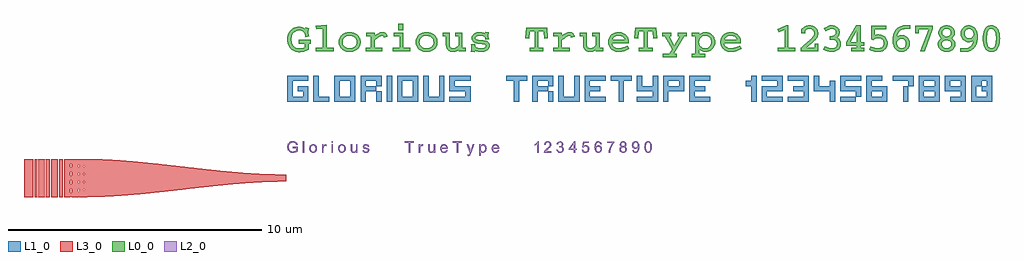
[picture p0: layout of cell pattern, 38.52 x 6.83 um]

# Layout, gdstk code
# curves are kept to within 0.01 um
import gdstk
lib = gdstk.Library(unit=1e-6, precision=1e-09)
def R(c, l, rs):  # rectangles x0, y0, x1, y1
    for r in rs: c.add(gdstk.rectangle(r[:2], r[2:], *l))
def A(c, l, x, y, w, h, nx, ny, dx, dy):  # array of equal rectangles
    R(c, l, [(x+i*dx, y+j*dy, x+i*dx+w, y+j*dy+h) for i in range(nx) for j in range(ny)])
def P(c, l, *ps):  # polygons
    for p in ps: c.add(gdstk.Polygon(p, *l))
L0_0 = (0, 0)
L1_0 = (1, 0)
L2_0 = (2, 0)
L3_0 = (3, 0)

pattern = lib.new_cell('pattern')
R(pattern, L0_0, [(4.385,5.83,4.582,6.079)])
P(pattern, L0_0, [(0.463,5.966),(0.588,5.948),(0.706,5.893),(0.714,5.95),(0.858,5.92),(0.833,5.753),(0.863,5.59),(0.713,5.558),(0.681,5.711),(0.636,5.765),(0.541,5.816),(0.427,5.824),(0.306,5.781),(0.218,5.694),(0.181,5.615),(0.162,5.525),(0.177,5.339),(0.233,5.224),(0.331,5.143),(0.419,5.118),(0.55,5.122),(0.693,5.158),(0.693,5.308),(0.454,5.308),(0.454,5.448),(0.92,5.448),(0.92,5.308),(0.843,5.308),(0.843,5.059),(0.642,4.992),(0.471,4.969),(0.295,5),(0.219,5.038),(0.124,5.118),(0.055,5.222),(0.024,5.301),(0,5.474),(0.014,5.607),(0.04,5.688),(0.129,5.826),(0.19,5.88),(0.297,5.938)],
  [(1.55,6.043),(1.55,5.139),(1.83,5.139),(1.83,5),(1.12,5),(1.12,5.139),(1.399,5.139),(1.399,5.895),(1.141,5.876),(1.125,6.014)],
  [(2.461,5.756),(2.461,5.616),(2.375,5.605),(2.299,5.573),(2.236,5.519),(2.197,5.45),(2.185,5.364),(2.198,5.279),(2.266,5.181),(2.376,5.125),(2.55,5.125),(2.66,5.182),(2.728,5.28),(2.737,5.413),(2.705,5.498),(2.604,5.586),(2.461,5.616),(2.461,5.756),(2.63,5.729),(2.769,5.65),(2.863,5.525),(2.894,5.407),(2.877,5.242),(2.798,5.108),(2.669,5.017),(2.507,4.976),(2.329,4.992),(2.174,5.066),(2.067,5.195),(2.032,5.319),(2.051,5.497),(2.144,5.638),(2.289,5.726)],
  [(3.945,5.613),(3.952,5.565),(3.803,5.541),(3.774,5.611),(3.719,5.612),(3.603,5.557),(3.447,5.428),(3.447,5.139),(3.753,5.139),(3.753,5),(3.096,5),(3.096,5.139),(3.296,5.139),(3.296,5.591),(3.11,5.591),(3.11,5.731),(3.447,5.731),(3.447,5.614),(3.636,5.736),(3.792,5.754),(3.895,5.704)],
  [(4.197,5.731),(4.582,5.731),(4.582,5.139),(4.862,5.139),(4.862,5),(4.152,5),(4.152,5.139),(4.431,5.139),(4.431,5.591),(4.197,5.591)],
  [(5.493,5.756),(5.493,5.616),(5.407,5.605),(5.331,5.573),(5.268,5.519),(5.23,5.45),(5.217,5.364),(5.23,5.279),(5.298,5.181),(5.408,5.125),(5.582,5.125),(5.692,5.182),(5.76,5.28),(5.769,5.413),(5.737,5.498),(5.636,5.586),(5.493,5.616),(5.493,5.756),(5.662,5.729),(5.801,5.65),(5.895,5.525),(5.926,5.407),(5.91,5.242),(5.83,5.108),(5.701,5.017),(5.539,4.976),(5.361,4.992),(5.206,5.066),(5.099,5.195),(5.064,5.319),(5.083,5.497),(5.176,5.638),(5.321,5.726)],
  [(6.128,5.731),(6.413,5.731),(6.417,5.203),(6.452,5.149),(6.551,5.12),(6.656,5.149),(6.761,5.236),(6.761,5.591),(6.625,5.591),(6.625,5.731),(6.912,5.731),(6.912,5.139),(7.045,5.139),(7.045,5),(6.761,5),(6.761,5.048),(6.636,4.986),(6.553,4.975),(6.438,4.992),(6.363,5.029),(6.301,5.097),(6.266,5.201),(6.263,5.591),(6.128,5.591)],
  [(7.81,5.764),(7.952,5.745),(7.937,5.576),(7.965,5.469),(7.812,5.451),(7.804,5.513),(7.767,5.573),(7.65,5.614),(7.567,5.613),(7.487,5.59),(7.431,5.55),(7.424,5.526),(7.43,5.5),(7.482,5.462),(7.81,5.418),(7.919,5.373),(7.967,5.316),(7.988,5.244),(7.986,5.172),(7.957,5.108),(7.844,5.015),(7.733,4.981),(7.54,4.983),(7.402,5.026),(7.397,4.971),(7.245,4.991),(7.269,5.128),(7.245,5.288),(7.394,5.306),(7.425,5.196),(7.485,5.144),(7.552,5.122),(7.732,5.127),(7.808,5.163),(7.828,5.188),(7.835,5.218),(7.819,5.259),(7.797,5.271),(7.525,5.302),(7.361,5.358),(7.292,5.429),(7.269,5.526),(7.309,5.64),(7.406,5.718),(7.48,5.744),(7.6,5.756),(7.804,5.713)],
  [(9.423,5.936),(10.254,5.936),(10.287,5.509),(10.137,5.491),(10.114,5.796),(9.913,5.796),(9.913,5.139),(10.105,5.139),(10.105,5),(9.572,5),(9.572,5.139),(9.763,5.139),(9.763,5.796),(9.563,5.796),(9.54,5.491),(9.39,5.509)],
  [(11.335,5.613),(11.342,5.565),(11.194,5.541),(11.165,5.611),(11.109,5.612),(10.994,5.557),(10.837,5.428),(10.837,5.139),(11.144,5.139),(11.144,5),(10.487,5),(10.487,5.139),(10.687,5.139),(10.687,5.591),(10.5,5.591),(10.5,5.731),(10.837,5.731),(10.837,5.614),(11.026,5.736),(11.183,5.754),(11.286,5.704)],
  [(11.542,5.731),(11.827,5.731),(11.831,5.203),(11.866,5.149),(11.965,5.12),(12.07,5.149),(12.175,5.236),(12.175,5.591),(12.039,5.591),(12.039,5.731),(12.325,5.731),(12.325,5.139),(12.459,5.139),(12.459,5),(12.175,5),(12.175,5.048),(12.05,4.986),(11.967,4.975),(11.852,4.992),(11.777,5.029),(11.715,5.097),(11.68,5.201),(11.677,5.591),(11.542,5.591)],
  [(13.089,5.756),(13.077,5.616),(12.992,5.605),(12.919,5.571),(12.862,5.518),(12.825,5.45),(13.317,5.45),(13.289,5.516),(13.243,5.565),(13.172,5.603),(13.077,5.616),(13.089,5.756),(13.171,5.747),(13.3,5.697),(13.409,5.603),(13.463,5.49),(13.465,5.31),(12.814,5.31),(12.841,5.235),(12.89,5.179),(12.958,5.139),(13.08,5.12),(13.228,5.144),(13.429,5.226),(13.497,5.1),(13.291,5.011),(13.13,4.976),(12.961,4.991),(12.805,5.065),(12.697,5.192),(12.661,5.317),(12.68,5.495),(12.772,5.637),(12.917,5.726)],
  [(13.731,5.936),(14.561,5.936),(14.594,5.509),(14.444,5.491),(14.421,5.796),(14.22,5.796),(14.22,5.139),(14.412,5.139),(14.412,5),(13.879,5),(13.879,5.139),(14.07,5.139),(14.07,5.796),(13.87,5.796),(13.847,5.491),(13.697,5.509)],
  [(14.794,5.731),(15.161,5.731),(15.161,5.591),(15.071,5.591),(15.272,5.22),(15.492,5.591),(15.402,5.591),(15.402,5.731),(15.769,5.731),(15.769,5.591),(15.66,5.591),(15.251,4.903),(15.371,4.903),(15.371,4.763),(14.817,4.763),(14.817,4.903),(15.082,4.903),(15.185,5.073),(14.904,5.591),(14.794,5.591)],
  [(16.497,5.756),(16.497,5.616),(16.382,5.591),(16.318,5.545),(16.272,5.482),(16.246,5.366),(16.279,5.24),(16.372,5.148),(16.499,5.115),(16.613,5.147),(16.7,5.237),(16.729,5.319),(16.72,5.451),(16.683,5.526),(16.622,5.582),(16.497,5.616),(16.497,5.756),(16.538,5.754),(16.652,5.726),(16.719,5.689),(16.776,5.641),(16.842,5.549),(16.871,5.476),(16.887,5.36),(16.879,5.28),(16.834,5.169),(16.727,5.05),(16.582,4.983),(16.41,4.986),(16.326,5.018),(16.252,5.073),(16.252,4.903),(16.491,4.903),(16.491,4.763),(15.969,4.763),(15.969,4.903),(16.102,4.903),(16.102,5.591),(15.969,5.591),(15.969,5.731),(16.252,5.731),(16.252,5.671),(16.366,5.735)],
  [(17.517,5.756),(17.506,5.616),(17.421,5.605),(17.348,5.571),(17.291,5.518),(17.254,5.45),(17.746,5.45),(17.718,5.516),(17.671,5.565),(17.6,5.603),(17.506,5.616),(17.517,5.756),(17.599,5.747),(17.728,5.697),(17.837,5.603),(17.892,5.49),(17.894,5.31),(17.242,5.31),(17.269,5.235),(17.318,5.179),(17.386,5.139),(17.509,5.12),(17.656,5.144),(17.857,5.226),(17.925,5.1),(17.719,5.011),(17.558,4.976),(17.389,4.991),(17.234,5.065),(17.126,5.192),(17.097,5.273),(17.087,5.363),(17.125,5.535),(17.201,5.637),(17.345,5.726)],
  [(19.776,6.026),(19.776,5.139),(20.055,5.139),(20.055,5),(19.345,5),(19.345,5.139),(19.625,5.139),(19.625,5.848),(19.385,5.745),(19.325,5.874),(19.682,6.026)],
  [(20.607,6.026),(20.695,6.016),(20.778,5.985),(20.879,5.906),(20.94,5.794),(20.949,5.666),(20.925,5.578),(20.879,5.497),(20.485,5.139),(20.805,5.139),(20.805,5.293),(20.95,5.293),(20.95,5),(20.255,5),(20.255,5.131),(20.589,5.421),(20.725,5.55),(20.779,5.623),(20.797,5.71),(20.784,5.777),(20.735,5.841),(20.652,5.881),(20.567,5.882),(20.488,5.849),(20.439,5.793),(20.432,5.721),(20.287,5.721),(20.287,5.868),(20.321,5.904),(20.476,6.003)],
  [(21.484,6.026),(21.563,6.018),(21.672,5.975),(21.731,5.927),(21.774,5.866),(21.799,5.756),(21.788,5.677),(21.757,5.608),(21.704,5.548),(21.775,5.491),(21.822,5.42),(21.849,5.291),(21.821,5.162),(21.741,5.06),(21.624,4.996),(21.487,4.975),(21.341,4.997),(21.152,5.066),(21.21,5.198),(21.36,5.139),(21.49,5.12),(21.603,5.144),(21.679,5.218),(21.688,5.343),(21.641,5.417),(21.537,5.459),(21.406,5.461),(21.406,5.601),(21.523,5.607),(21.564,5.622),(21.623,5.677),(21.644,5.749),(21.623,5.822),(21.565,5.87),(21.45,5.883),(21.245,5.783),(21.169,5.903),(21.337,5.996)],
  [(22.46,6.026),(22.474,5.83),(22.222,5.366),(22.477,5.366),(22.477,5.83),(22.46,6.026),(22.627,6.026),(22.627,5.366),(22.772,5.366),(22.772,5.226),(22.627,5.226),(22.627,5.139),(22.772,5.139),(22.772,5),(22.262,5),(22.262,5.139),(22.477,5.139),(22.477,5.226),(22.049,5.226),(22.049,5.358)],
  [(23.037,6.001),(23.644,6.001),(23.644,5.861),(23.182,5.861),(23.182,5.633),(23.34,5.666),(23.479,5.64),(23.592,5.567),(23.665,5.455),(23.69,5.318),(23.668,5.198),(23.601,5.086),(23.493,5.008),(23.366,4.977),(23.228,4.98),(22.972,5.058),(23.025,5.193),(23.266,5.122),(23.354,5.122),(23.437,5.146),(23.519,5.228),(23.535,5.318),(23.51,5.422),(23.466,5.475),(23.404,5.509),(23.329,5.521),(23.239,5.508),(23.117,5.439),(23.037,5.483)],
  [(24.575,6.026),(24.575,5.886),(24.313,5.874),(24.205,5.831),(24.144,5.776),(24.101,5.706),(24.062,5.581),(24.135,5.619),(24.254,5.64),(24.248,5.495),(24.134,5.46),(24.1,5.433),(24.05,5.351),(24.085,5.224),(24.166,5.133),(24.205,5.119),(24.294,5.121),(24.366,5.168),(24.405,5.25),(24.399,5.372),(24.334,5.469),(24.248,5.495),(24.254,5.64),(24.337,5.628),(24.446,5.567),(24.502,5.506),(24.542,5.43),(24.565,5.308),(24.542,5.179),(24.474,5.072),(24.371,5),(24.248,4.975),(24.11,5.005),(24.037,5.052),(23.982,5.111),(23.938,5.187),(23.902,5.301),(23.895,5.526),(23.953,5.749),(24.062,5.901),(24.173,5.979),(24.308,6.019)],
  [(24.775,6.001),(25.473,6.001),(25.473,5.893),(25.154,5),(24.985,5),(25.309,5.861),(24.92,5.861),(24.92,5.721),(24.775,5.721)],
  [(26.017,6.026),(26.017,5.886),(25.972,5.882),(25.897,5.846),(25.852,5.78),(25.847,5.738),(25.87,5.658),(25.899,5.625),(25.976,5.584),(26.018,5.579),(26.017,5.434),(25.926,5.415),(25.854,5.358),(25.828,5.273),(25.835,5.23),(25.889,5.159),(26.018,5.115),(26.109,5.135),(26.149,5.159),(26.202,5.23),(26.202,5.317),(26.154,5.389),(26.092,5.423),(26.017,5.434),(26.018,5.579),(26.104,5.601),(26.14,5.627),(26.167,5.659),(26.19,5.738),(26.185,5.78),(26.14,5.846),(26.063,5.882),(26.017,5.886),(26.017,6.026),(26.138,6.006),(26.212,5.97),(26.274,5.919),(26.319,5.854),(26.342,5.78),(26.342,5.694),(26.313,5.611),(26.23,5.513),(26.339,5.391),(26.364,5.279),(26.341,5.173),(26.273,5.073),(26.163,5.001),(26.018,4.975),(25.877,5),(25.766,5.07),(25.697,5.169),(25.673,5.279),(25.711,5.411),(25.807,5.513),(25.746,5.576),(25.705,5.655),(25.692,5.74),(25.719,5.856),(25.765,5.921),(25.862,5.991)],
  [(26.564,4.975),(26.564,5.115),(26.739,5.116),(26.867,5.138),(26.936,5.171),(26.996,5.226),(27.035,5.289),(27.077,5.419),(27.003,5.382),(26.885,5.361),(26.89,5.506),(27.004,5.54),(27.066,5.604),(27.088,5.649),(27.045,5.795),(26.966,5.87),(26.845,5.88),(26.773,5.833),(26.733,5.751),(26.747,5.607),(26.804,5.534),(26.89,5.506),(26.885,5.361),(26.802,5.373),(26.692,5.433),(26.636,5.495),(26.596,5.571),(26.573,5.693),(26.597,5.822),(26.665,5.929),(26.767,6.001),(26.89,6.026),(27.029,5.996),(27.108,5.943),(27.167,5.876),(27.233,5.717),(27.247,5.619),(27.24,5.448),(27.183,5.25),(27.088,5.11),(26.945,5.014),(26.774,4.976)],
  [(27.785,6.026),(27.785,5.886),(27.709,5.867),(27.679,5.843),(27.639,5.766),(27.612,5.64),(27.61,5.374),(27.635,5.251),(27.669,5.18),(27.751,5.119),(27.863,5.134),(27.916,5.192),(27.961,5.364),(27.969,5.565),(27.949,5.717),(27.888,5.844),(27.842,5.876),(27.785,5.886),(27.785,6.026),(27.924,5.998),(27.994,5.947),(28.047,5.878),(28.106,5.713),(28.125,5.504),(28.103,5.275),(28.041,5.113),(27.988,5.05),(27.92,5.002),(27.787,4.975),(27.698,4.985),(27.625,5.014),(27.542,5.095),(27.477,5.258),(27.448,5.504),(27.477,5.748),(27.543,5.908),(27.626,5.988),(27.698,6.016)])
R(pattern, L1_0, [(3.516,3,3.724,3.416), (3.925,3,4.133,4.041), (10.291,3,10.5,3.416), (21.816,3,22.441,3.208), (24.299,3,24.508,3.625)])
P(pattern, L1_0, [(0,3),(0,4.041),(0.833,4.041),(0.833,3.833),(0.208,3.833),(0.208,3.208),(0.624,3.208),(0.624,3.416),(0.416,3.416),(0.416,3.625),(0.833,3.625),(0.833,3)],
  [(1.033,3),(1.033,4.041),(1.241,4.041),(1.241,3.208),(1.658,3.208),(1.658,3)],
  [(1.858,3),(1.858,4.041),(2.691,4.041),(2.691,3),(2.483,3.208),(2.483,3.833),(2.066,3.833),(2.066,3.208),(2.483,3.208),(2.691,3)],
  [(2.891,3),(2.891,4.041),(3.724,4.041),(3.724,3.625),(3.516,3.625),(3.516,3.833),(3.1,3.833),(3.1,3.625),(3.516,3.625),(3.516,3.416),(3.1,3.416),(3.1,3)],
  [(4.333,3),(4.333,4.041),(5.166,4.041),(5.166,3),(4.958,3.208),(4.958,3.833),(4.541,3.833),(4.541,3.208),(4.958,3.208),(5.166,3)],
  [(5.366,3),(5.366,4.041),(5.574,4.041),(5.574,3.208),(5.991,3.208),(5.991,4.041),(6.199,4.041),(6.199,3)],
  [(6.399,3),(6.399,3.208),(7.024,3.208),(7.024,3.416),(6.399,3.416),(6.399,4.041),(7.233,4.041),(7.233,3.833),(6.608,3.833),(6.608,3.625),(7.233,3.625),(7.233,3)],
  [(8.945,3),(8.945,3.833),(8.633,3.833),(8.633,4.041),(9.466,4.041),(9.466,3.833),(9.154,3.833),(9.154,3)],
  [(9.666,3),(9.666,4.041),(10.5,4.041),(10.5,3.625),(10.291,3.625),(10.291,3.833),(9.875,3.833),(9.875,3.625),(10.291,3.625),(10.291,3.416),(9.875,3.416),(9.875,3)],
  [(10.7,3),(10.7,4.041),(10.908,4.041),(10.908,3.208),(11.325,3.208),(11.325,4.041),(11.533,4.041),(11.533,3)],
  [(11.733,3),(11.733,4.041),(12.566,4.041),(12.566,3.833),(11.941,3.833),(11.941,3.625),(12.358,3.625),(12.358,3.416),(11.941,3.416),(11.941,3.208),(12.566,3.208),(12.566,3)],
  [(13.079,3),(13.079,3.833),(12.766,3.833),(12.766,4.041),(13.6,4.041),(13.6,3.833),(13.287,3.833),(13.287,3)],
  [(13.799,3),(13.799,3.208),(14.424,3.208),(14.424,3.416),(13.799,3.416),(13.799,4.041),(14.008,4.041),(14.008,3.625),(14.424,3.625),(14.424,4.041),(14.633,4.041),(14.633,3)],
  [(14.833,3),(14.833,4.041),(15.666,4.041),(15.666,3.416),(15.458,3.625),(15.458,3.833),(15.041,3.833),(15.041,3.625),(15.458,3.625),(15.666,3.416),(15.041,3.416),(15.041,3)],
  [(15.866,3),(15.866,4.041),(16.7,4.041),(16.7,3.833),(16.075,3.833),(16.075,3.625),(16.491,3.625),(16.491,3.416),(16.075,3.416),(16.075,3.208),(16.7,3.208),(16.7,3)],
  [(18.308,3),(18.308,3.625),(18.099,3.625),(18.099,3.833),(18.308,3.833),(18.308,4.041),(18.516,4.041),(18.516,3)],
  [(18.716,3),(18.716,3.625),(19.341,3.625),(19.341,3.833),(18.716,3.833),(18.716,4.041),(19.549,4.041),(19.549,3.416),(18.924,3.416),(18.924,3.208),(19.549,3.208),(19.549,3)],
  [(19.75,3),(19.75,3.208),(20.375,3.208),(20.375,3.416),(19.958,3.416),(19.958,3.625),(20.375,3.625),(20.375,3.833),(19.75,3.833),(19.75,4.041),(20.583,4.041),(20.583,3)],
  [(21.408,3),(21.408,3.416),(20.783,3.416),(20.783,4.041),(20.991,4.041),(20.991,3.625),(21.408,3.625),(21.408,3.833),(21.616,3.833),(21.616,3)],
  [(22.441,3.208),(22.441,3.416),(21.816,3.416),(21.816,4.041),(22.649,4.041),(22.649,3.833),(22.024,3.833),(22.024,3.625),(22.649,3.625),(22.649,3.208)],
  [(22.849,3),(22.849,4.041),(23.474,4.041),(23.474,3.833),(23.058,3.833),(23.058,3.625),(23.683,3.625),(23.683,3),(23.474,3.208),(23.474,3.416),(23.058,3.416),(23.058,3.208),(23.474,3.208),(23.683,3)],
  [(24.508,3.625),(24.508,3.833),(23.883,3.833),(23.883,4.041),(24.716,4.041),(24.716,3.625)],
  [(24.916,3),(24.916,4.041),(25.749,4.041),(25.749,3),(25.541,3.208),(25.541,3.833),(25.124,3.833),(25.124,3.625),(25.541,3.625),(25.541,3.416),(25.124,3.416),(25.124,3.208),(25.541,3.208),(25.749,3)],
  [(26.158,3),(26.158,3.208),(26.574,3.208),(26.574,3.416),(26.574,3.625),(26.574,3.833),(26.158,3.833),(26.158,3.625),(26.574,3.625),(26.574,3.416),(25.949,3.416),(25.949,4.041),(26.783,4.041),(26.783,3)],
  [(26.983,3),(26.983,4.041),(27.816,4.041),(27.816,3),(27.608,3.208),(27.608,3.416),(27.399,3.416),(27.399,3.625),(27.608,3.625),(27.608,3.833),(27.399,3.833),(27.399,3.625),(27.191,3.625),(27.191,3.208),(27.608,3.208),(27.816,3)])
R(pattern, L2_0, [(0.613,1,0.668,1.447), (1.748,1,1.803,1.324), (1.748,1.384,1.803,1.447)])
P(pattern, L2_0, [(0.224,1.175),(0.224,1.227),(0.413,1.228),(0.413,1.062),(0.323,1.009),(0.276,0.996),(0.185,0.995),(0.108,1.02),(0.048,1.069),(0.012,1.139),(0,1.221),(0.003,1.264),(0.027,1.343),(0.074,1.406),(0.141,1.442),(0.223,1.455),(0.27,1.451),(0.346,1.42),(0.373,1.395),(0.407,1.322),(0.353,1.307),(0.328,1.361),(0.285,1.392),(0.256,1.401),(0.186,1.401),(0.127,1.377),(0.09,1.338),(0.065,1.271),(0.063,1.187),(0.081,1.125),(0.106,1.09),(0.141,1.065),(0.182,1.05),(0.225,1.045),(0.3,1.06),(0.355,1.092),(0.355,1.175)],
  [(0.868,1.162),(0.925,1.162),(0.937,1.092),(0.952,1.068),(0.983,1.045),(1.02,1.037),(1.058,1.045),(1.088,1.068),(1.112,1.124),(1.112,1.2),(1.088,1.254),(1.057,1.278),(1.02,1.285),(0.983,1.278),(0.952,1.255),(0.937,1.231),(0.925,1.162),(0.868,1.162),(0.881,1.24),(0.918,1.295),(0.948,1.315),(1.02,1.331),(1.062,1.326),(1.098,1.311),(1.129,1.287),(1.153,1.254),(1.167,1.214),(1.172,1.166),(1.164,1.095),(1.13,1.036),(1.099,1.012),(1.061,0.997),(1.02,0.992),(0.978,0.997),(0.941,1.012),(0.91,1.036),(0.887,1.069),(0.873,1.111)],
  [(1.372,1),(1.372,1.324),(1.421,1.324),(1.421,1.274),(1.456,1.32),(1.492,1.331),(1.548,1.313),(1.529,1.262),(1.489,1.274),(1.456,1.263),(1.436,1.233),(1.427,1.169),(1.427,1)],
  [(2.003,1.162),(2.059,1.162),(2.071,1.092),(2.087,1.068),(2.117,1.045),(2.155,1.037),(2.192,1.045),(2.223,1.068),(2.247,1.124),(2.247,1.2),(2.223,1.254),(2.192,1.278),(2.155,1.285),(2.117,1.278),(2.087,1.255),(2.071,1.231),(2.059,1.162),(2.003,1.162),(2.015,1.24),(2.053,1.295),(2.083,1.315),(2.155,1.331),(2.197,1.326),(2.233,1.311),(2.264,1.287),(2.288,1.254),(2.302,1.214),(2.307,1.166),(2.298,1.095),(2.265,1.036),(2.233,1.012),(2.196,0.997),(2.155,0.992),(2.112,0.997),(2.076,1.012),(2.045,1.036),(2.022,1.069),(2.008,1.111)],
  [(2.72,1),(2.72,1.047),(2.692,1.017),(2.658,0.998),(2.617,0.992),(2.564,1.003),(2.527,1.031),(2.507,1.092),(2.507,1.324),(2.561,1.324),(2.565,1.086),(2.587,1.052),(2.628,1.039),(2.675,1.052),(2.705,1.087),(2.714,1.15),(2.714,1.324),(2.769,1.324),(2.769,1)],
  [(2.969,1.096),(3.024,1.105),(3.032,1.076),(3.049,1.055),(3.074,1.042),(3.141,1.041),(3.164,1.053),(3.182,1.089),(3.166,1.118),(3.026,1.163),(2.991,1.194),(2.978,1.238),(2.988,1.278),(3.015,1.308),(3.05,1.324),(3.134,1.328),(3.19,1.307),(3.207,1.29),(3.226,1.24),(3.173,1.233),(3.151,1.272),(3.102,1.286),(3.048,1.273),(3.032,1.244),(3.038,1.225),(3.059,1.21),(3.189,1.171),(3.225,1.142),(3.235,1.121),(3.234,1.068),(3.203,1.021),(3.144,0.995),(3.069,0.995),(3.037,1.004),(3.012,1.018),(2.984,1.051)],
  [(4.786,1),(4.786,1.394),(4.638,1.394),(4.638,1.447),(4.993,1.447),(4.993,1.394),(4.845,1.394),(4.845,1)],
  [(5.193,1),(5.193,1.324),(5.243,1.324),(5.243,1.274),(5.277,1.32),(5.313,1.331),(5.369,1.313),(5.35,1.262),(5.31,1.274),(5.278,1.263),(5.257,1.233),(5.248,1.169),(5.248,1)],
  [(5.783,1),(5.783,1.047),(5.755,1.017),(5.72,0.998),(5.68,0.992),(5.626,1.003),(5.589,1.031),(5.57,1.092),(5.569,1.324),(5.624,1.324),(5.627,1.086),(5.649,1.052),(5.691,1.039),(5.737,1.052),(5.768,1.087),(5.777,1.15),(5.777,1.324),(5.832,1.324),(5.832,1)],
  [(6.272,1.104),(6.329,1.097),(6.31,1.053),(6.279,1.02),(6.253,1.004),(6.186,0.992),(6.142,0.997),(6.105,1.012),(6.074,1.036),(6.05,1.069),(6.032,1.159),(6.037,1.209),(6.051,1.252),(6.074,1.286),(6.105,1.311),(6.141,1.326),(6.183,1.331),(6.224,1.326),(6.259,1.311),(6.29,1.287),(6.312,1.253),(6.326,1.212),(6.33,1.148),(6.089,1.148),(6.092,1.193),(6.273,1.193),(6.266,1.228),(6.252,1.254),(6.222,1.278),(6.184,1.286),(6.149,1.279),(6.12,1.26),(6.1,1.231),(6.092,1.193),(6.089,1.148),(6.098,1.1),(6.119,1.066),(6.149,1.044),(6.187,1.037),(6.238,1.053)],
  [(6.678,1),(6.678,1.394),(6.531,1.394),(6.531,1.447),(6.885,1.447),(6.885,1.394),(6.737,1.394),(6.737,1)],
  [(7.114,0.875),(7.108,0.926),(7.139,0.921),(7.169,0.927),(7.187,0.945),(7.208,0.999),(7.085,1.324),(7.145,1.324),(7.235,1.061),(7.327,1.324),(7.382,1.324),(7.228,0.92),(7.195,0.881),(7.149,0.868)],
  [(7.582,0.875),(7.582,1.324),(7.632,1.324),(7.632,1.16),(7.643,1.091),(7.657,1.067),(7.685,1.045),(7.719,1.037),(7.753,1.045),(7.781,1.068),(7.796,1.093),(7.807,1.164),(7.796,1.233),(7.782,1.257),(7.754,1.28),(7.721,1.288),(7.688,1.28),(7.659,1.255),(7.644,1.23),(7.632,1.16),(7.632,1.281),(7.672,1.319),(7.697,1.328),(7.765,1.326),(7.8,1.31),(7.827,1.284),(7.86,1.209),(7.864,1.164),(7.846,1.074),(7.824,1.039),(7.794,1.013),(7.759,0.997),(7.696,0.995),(7.673,1.004),(7.637,1.033),(7.637,0.875)],
  [(8.304,1.104),(8.361,1.097),(8.341,1.053),(8.311,1.02),(8.284,1.004),(8.218,0.992),(8.174,0.997),(8.136,1.012),(8.105,1.036),(8.082,1.069),(8.068,1.11),(8.064,1.159),(8.068,1.209),(8.082,1.252),(8.106,1.286),(8.137,1.311),(8.173,1.326),(8.215,1.331),(8.256,1.326),(8.291,1.311),(8.321,1.287),(8.344,1.253),(8.358,1.212),(8.362,1.148),(8.12,1.148),(8.123,1.193),(8.304,1.193),(8.284,1.254),(8.254,1.278),(8.216,1.286),(8.181,1.279),(8.152,1.26),(8.132,1.231),(8.123,1.193),(8.12,1.148),(8.129,1.1),(8.151,1.066),(8.181,1.044),(8.218,1.037),(8.27,1.053)],
  [(9.927,1),(9.872,1),(9.872,1.35),(9.82,1.312),(9.762,1.283),(9.762,1.336),(9.843,1.389),(9.892,1.449),(9.927,1.449)],
  [(10.423,1.052),(10.423,1),(10.127,1),(10.148,1.068),(10.2,1.129),(10.34,1.26),(10.359,1.294),(10.366,1.326),(10.36,1.356),(10.342,1.381),(10.316,1.398),(10.282,1.403),(10.246,1.397),(10.218,1.379),(10.2,1.351),(10.194,1.314),(10.138,1.319),(10.16,1.39),(10.181,1.416),(10.209,1.434),(10.283,1.449),(10.357,1.433),(10.406,1.387),(10.422,1.325),(10.411,1.272),(10.375,1.217),(10.227,1.082),(10.203,1.052)],
  [(10.623,1.118),(10.678,1.125),(10.691,1.085),(10.71,1.058),(10.735,1.042),(10.765,1.037),(10.801,1.044),(10.831,1.064),(10.851,1.094),(10.858,1.13),(10.851,1.165),(10.833,1.193),(10.805,1.211),(10.77,1.217),(10.731,1.211),(10.737,1.26),(10.78,1.263),(10.809,1.277),(10.83,1.3),(10.837,1.334),(10.832,1.361),(10.817,1.384),(10.794,1.399),(10.764,1.404),(10.735,1.399),(10.711,1.383),(10.693,1.358),(10.683,1.323),(10.628,1.333),(10.653,1.395),(10.674,1.418),(10.714,1.441),(10.763,1.449),(10.798,1.445),(10.858,1.414),(10.89,1.362),(10.89,1.305),(10.859,1.258),(10.832,1.242),(10.868,1.228),(10.894,1.204),(10.91,1.171),(10.916,1.132),(10.897,1.061),(10.873,1.032),(10.842,1.01),(10.806,0.996),(10.728,0.995),(10.695,1.007),(10.645,1.052)],
  [(11.31,1),(11.31,1.359),(11.17,1.157),(11.31,1.157),(11.31,1.107),(11.116,1.107),(11.116,1.157),(11.32,1.447),(11.365,1.447),(11.365,1.157),(11.425,1.157),(11.425,1.107),(11.365,1.107),(11.365,1)],
  [(11.625,1.117),(11.683,1.122),(11.694,1.085),(11.713,1.058),(11.739,1.042),(11.769,1.037),(11.806,1.045),(11.836,1.067),(11.857,1.102),(11.864,1.146),(11.857,1.188),(11.837,1.22),(11.807,1.241),(11.768,1.248),(11.72,1.236),(11.687,1.204),(11.635,1.211),(11.678,1.441),(11.901,1.441),(11.901,1.388),(11.722,1.388),(11.698,1.268),(11.74,1.289),(11.783,1.296),(11.82,1.292),(11.882,1.256),(11.904,1.226),(11.922,1.151),(11.918,1.113),(11.887,1.046),(11.854,1.016),(11.815,0.998),(11.731,0.996),(11.698,1.007),(11.647,1.051)],
  [(12.409,1.337),(12.355,1.333),(12.334,1.38),(12.309,1.398),(12.279,1.404),(12.233,1.389),(12.21,1.366),(12.184,1.306),(12.177,1.23),(12.225,1.275),(12.285,1.29),(12.32,1.285),(12.351,1.272),(12.4,1.22),(12.413,1.185),(12.417,1.145),(12.413,1.104),(12.399,1.066),(12.378,1.035),(12.349,1.011),(12.315,0.997),(12.277,0.992),(12.234,0.997),(12.197,1.014),(12.165,1.042),(12.146,1.072),(12.125,1.155),(12.185,1.144),(12.197,1.09),(12.212,1.067),(12.231,1.051),(12.276,1.037),(12.309,1.044),(12.336,1.065),(12.355,1.098),(12.361,1.141),(12.355,1.183),(12.336,1.214),(12.309,1.235),(12.274,1.241),(12.24,1.235),(12.211,1.214),(12.192,1.184),(12.185,1.144),(12.125,1.155),(12.13,1.301),(12.139,1.339),(12.17,1.397),(12.201,1.426),(12.239,1.443),(12.282,1.449),(12.331,1.441),(12.369,1.419),(12.396,1.384)],
  [(12.617,1.388),(12.617,1.441),(12.907,1.441),(12.907,1.398),(12.85,1.324),(12.785,1.201),(12.757,1.122),(12.736,1),(12.68,1),(12.701,1.127),(12.758,1.271),(12.836,1.388)],
  [(13.192,1.242),(13.162,1.257),(13.141,1.278),(13.125,1.333),(13.181,1.335),(13.186,1.306),(13.202,1.283),(13.225,1.268),(13.255,1.263),(13.284,1.268),(13.307,1.283),(13.322,1.305),(13.327,1.332),(13.322,1.36),(13.306,1.383),(13.283,1.398),(13.254,1.404),(13.225,1.399),(13.202,1.383),(13.186,1.361),(13.181,1.335),(13.125,1.333),(13.134,1.378),(13.16,1.415),(13.217,1.445),(13.29,1.445),(13.348,1.415),(13.375,1.377),(13.383,1.332),(13.379,1.303),(13.347,1.257),(13.318,1.242),(13.354,1.225),(13.38,1.199),(13.396,1.166),(13.402,1.127),(13.384,1.059),(13.331,1.009),(13.296,0.996),(13.213,0.996),(13.177,1.009),(13.125,1.059),(13.111,1.092),(13.107,1.129),(13.163,1.129),(13.175,1.083),(13.208,1.049),(13.231,1.04),(13.291,1.043),(13.32,1.062),(13.339,1.091),(13.346,1.127),(13.339,1.163),(13.319,1.192),(13.29,1.212),(13.253,1.218),(13.218,1.212),(13.189,1.193),(13.17,1.164),(13.163,1.129),(13.107,1.129),(13.113,1.169),(13.129,1.202),(13.156,1.227)],
  [(13.61,1.103),(13.663,1.108),(13.688,1.054),(13.71,1.041),(13.737,1.037),(13.781,1.049),(13.813,1.08),(13.833,1.132),(13.841,1.21),(13.822,1.186),(13.766,1.155),(13.699,1.156),(13.64,1.191),(13.619,1.221),(13.606,1.257),(13.602,1.298),(13.606,1.34),(13.62,1.377),(13.642,1.407),(13.671,1.43),(13.704,1.444),(13.742,1.449),(13.784,1.443),(13.822,1.425),(13.854,1.397),(13.888,1.325),(13.835,1.3),(13.829,1.343),(13.81,1.375),(13.782,1.396),(13.749,1.403),(13.715,1.396),(13.685,1.373),(13.665,1.339),(13.658,1.296),(13.665,1.257),(13.684,1.226),(13.713,1.206),(13.748,1.2),(13.782,1.206),(13.81,1.226),(13.829,1.258),(13.835,1.3),(13.888,1.325),(13.894,1.179),(13.877,1.096),(13.854,1.051),(13.822,1.018),(13.782,0.999),(13.736,0.992),(13.688,0.999),(13.65,1.021),(13.623,1.056)],
  [(14.096,1.22),(14.152,1.22),(14.167,1.096),(14.178,1.074),(14.207,1.046),(14.242,1.037),(14.277,1.046),(14.317,1.097),(14.33,1.17),(14.325,1.312),(14.305,1.367),(14.277,1.394),(14.241,1.403),(14.207,1.395),(14.181,1.371),(14.16,1.313),(14.152,1.22),(14.096,1.22),(14.103,1.312),(14.133,1.391),(14.161,1.422),(14.197,1.442),(14.242,1.449),(14.276,1.445),(14.33,1.417),(14.35,1.392),(14.366,1.362),(14.383,1.297),(14.386,1.171),(14.372,1.093),(14.351,1.05),(14.323,1.018),(14.287,0.998),(14.242,0.992),(14.202,0.997),(14.168,1.012),(14.14,1.038),(14.121,1.071),(14.107,1.112)])
A(pattern, L3_0, -8.05, -0.75, 0.05, 0.26, 1, 5, 0, 0.31)
R(pattern, L3_0, [(-10.39,-0.75,-10.025,0.75), (-9.975,-0.75,-9.87,0.75), (-9.82,-0.75,-9.575,0.75), (-9.525,-0.75,-9.365,0.75), (-9.315,-0.75,-9.055,0.75), (-9.005,-0.75,-8.86,0.75), (-8.81,-0.75,-8.56,0.75), (-8.51,-0.75,-8.25,0.75), (-8.2,-0.75,-8.05,0.75), (-8.56,-0.747,-8.51,-0.572), (-8.25,-0.742,-8.2,-0.532), (-8.25,-0.432,-8.2,-0.212), (-8.56,-0.422,-8.51,-0.242), (-8.25,-0.112,-8.2,0.112), (-8.56,-0.092,-8.51,0.092), (-8.25,0.212,-8.2,0.432), (-8.56,0.242,-8.51,0.422), (-8.25,0.532,-8.2,0.742), (-8.56,0.572,-8.51,0.747)])
P(pattern, L3_0, [(-0.05,-0.135),(-0.65,-0.144),(-1.65,-0.198),(-2.75,-0.297),(-5.95,-0.645),(-7.1,-0.726),(-8,-0.75),(-8,0.75),(-7.15,0.726),(-6,0.645),(-2.8,0.297),(-1.7,0.198),(-0.7,0.144),(-0.05,0.135)])

lib.write_gds('pattern.gds')
